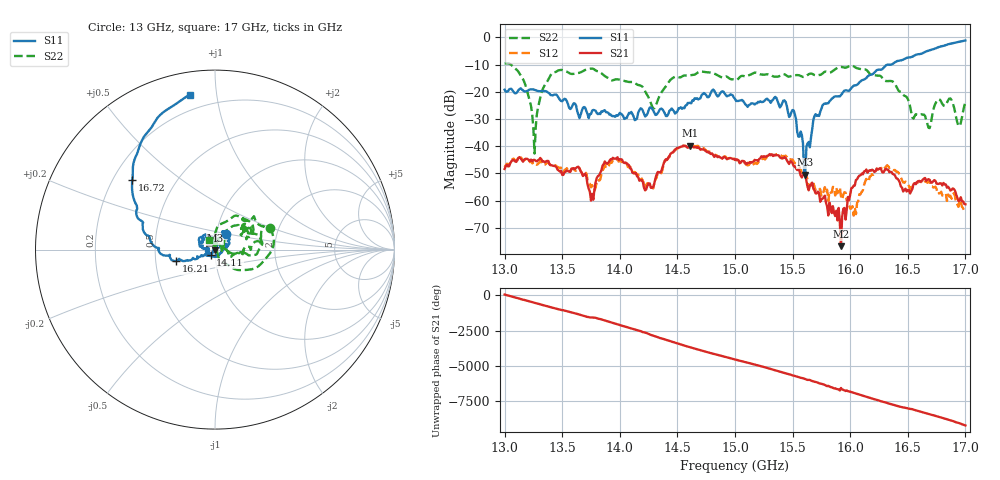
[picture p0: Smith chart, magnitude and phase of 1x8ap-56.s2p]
!Keysight Technologies,P9374A,MY57211807,A.19.30.04
!Date: Friday, May 08, 2026 15:46:46
!Correction: S11(C  2-Port  )
!S21(C  2-Port  )
!S12(C  2-Port  )
!S22(C  2-Port  )
!S2P File: Measurements: S11, S21, S12, S22:
# Hz S  dB  R 50
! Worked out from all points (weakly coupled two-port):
!   401 points, 13 GHz to 17 GHz, reference 50 ohm
!   highest |S21| = -39.78 dB at 14.61 GHz (marker M1); lowest = -76.7 dB at 15.92 GHz (marker M2)
!   lowest |S11| = -50.5 dB at 15.61 GHz (marker M3), VSWR 1.01, Z = 50 - j0.294 ohm
!   |S11| at or under -10 dB: start of sweep to 16.33 GHz; 16.33074 GHz to 16.36047 GHz (29.72 MHz wide, 0.182 % of centre)
!   |S22| runs from -42.7 to -9.6 dB; largest |S21 - S12| = 0.0018
!   S11 on the Smith chart (normalised r, x): 13 GHz: 1.12, +0.20; 14.11 GHz: 0.95, -0.06; 16.21 GHz: 0.64, -0.08; 16.72 GHz: 0.28, +0.34; 17 GHz: 0.12, +0.84
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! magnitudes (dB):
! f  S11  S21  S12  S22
! 13 GHz  -19.2  -48.4  -47.6  -9.6
! 13.16 GHz  -19.5  -45.7  -45.6  -15.4
! 13.26 GHz  -19.3  -45.0  -45.7  -42.7
! 13.41 GHz  -21.3  -47.0  -47.1  -13.3
! 13.67 GHz  -27.0  -49.8  -49.7  -12.7
! 13.76 GHz  -27.0  -57.5  -54.3  -11.5
! 13.93 GHz  -28.9  -44.9  -46.1  -15.8
! 14.11 GHz  -28.3  -49.8  -49.5  -16.4
! 14.34 GHz  -27.1  -49.5  -49.0  -22.0
! 14.61 GHz  -24.0  -39.8  -39.7  -14.0
! 15 GHz  -22.6  -45.1  -44.9  -15.5
! 15.43 GHz  -23.2  -44.0  -43.7  -13.6
! 15.61 GHz  -50.5  -50.5  -49.2  -14.4
! 15.67 GHz  -33.8  -53.4  -52.8  -13.4
! 15.92 GHz  -21.2  -76.7  -58.4  -10.9
! 16.03 GHz  -17.8  -54.5  -65.5  -10.6
! 16.21 GHz  -13.0  -49.5  -50.1  -13.9
! 16.34 GHz  -10.1  -49.6  -48.0  -16.0
! 16.55 GHz  -6.9  -53.9  -54.5  -29.9
! 16.72 GHz  -4.4  -52.9  -55.2  -27.0
! 16.95 GHz  -1.6  -60.0  -59.7  -32.6
! 17 GHz  -1.2  -61.4  -63.9  -23.9
